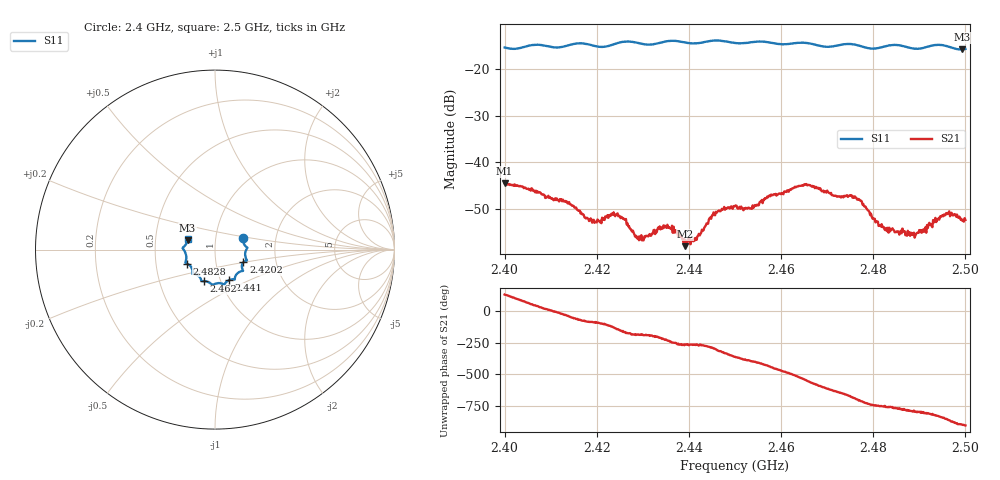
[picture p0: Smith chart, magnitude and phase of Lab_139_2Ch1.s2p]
# Hz S RI R 50
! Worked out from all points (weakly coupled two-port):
!   601 points, 2.4 GHz to 2.5 GHz, reference 50 ohm
!   highest |S21| = -44.50 dB at 2.4 GHz (marker M1); lowest = -57.9 dB at 2.4392 GHz (marker M2)
!   lowest |S11| = -15.9 dB at 2.4993 GHz (marker M3), VSWR 1.38, Z = 36.6 + j3.82 ohm
!   |S11| at or under -10 dB: start of sweep to end of sweep
!   S12 and S22 are empty: the file has one direction only
!   S11 on the Smith chart (normalised r, x): 2.4 GHz: 1.36, +0.18; 2.4202 GHz: 1.36, -0.20; 2.441 GHz: 1.10, -0.39; 2.462 GHz: 0.84, -0.30; 2.4828 GHz: 0.72, -0.12; 2.5 GHz: 0.73, +0.09
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2.4e9  0.1571 0.0628  -0.00354 0.00479  0 0  0 0
2.412833e9  0.1691 -0.0378  0.00331 -0.00188  0 0  0 0
2.416667e9  0.1778 -0.0601  0.000739 -0.00279  0 0  0 0
2.420167e9  0.1581 -0.0706  -0.000233 -0.00244  0 0  0 0
2.424167e9  0.1522 -0.1077  -0.00212 -0.00176  0 0  0 0
2.429667e9  0.1396 -0.1225  -0.00166 0.000136  0 0  0 0
2.433333e9  0.1123 -0.1508  -0.00176 0.000971  0 0  0 0
2.435833e9  0.1104 -0.1657  -0.000937 0.00174  0 0  0 0
2.439167e9  0.0965 -0.1656  -0.000115 0.00126  0 0  0 0
2.441e9  0.0786 -0.1696  -0.000108 0.00143  0 0  0 0
2.4455e9  0.052 -0.1941  0.0013 0.00255  0 0  0 0
2.45e9  0.0286 -0.187  0.00339 -9.47e-05  0 0  0 0
2.453667e9  -0.00484 -0.1928  0.00254 -0.0019  0 0  0 0
2.462e9  -0.0603 -0.1755  -0.0037 -0.00359  0 0  0 0
2.466667e9  -0.0776 -0.1682  -0.00493 0.00244  0 0  0 0
2.4765e9  -0.1259 -0.128  0.00366 0.00158  0 0  0 0
2.482833e9  -0.1575 -0.0775  0.00162 -0.00115  0 0  0 0
2.483333e9  -0.1606 -0.0762  0.00144 -0.00102  0 0  0 0
2.489333e9  -0.1607 -0.0322  0.000526 -0.00164  0 0  0 0
2.496e9  -0.1742 0.0155  -0.00184 -0.0021  0 0  0 0
2.499333e9  -0.153 0.0508  -0.00237 -0.00016  0 0  0 0
2.5e9  -0.1515 0.0609  -0.00242 3.62e-05  0 0  0 0
